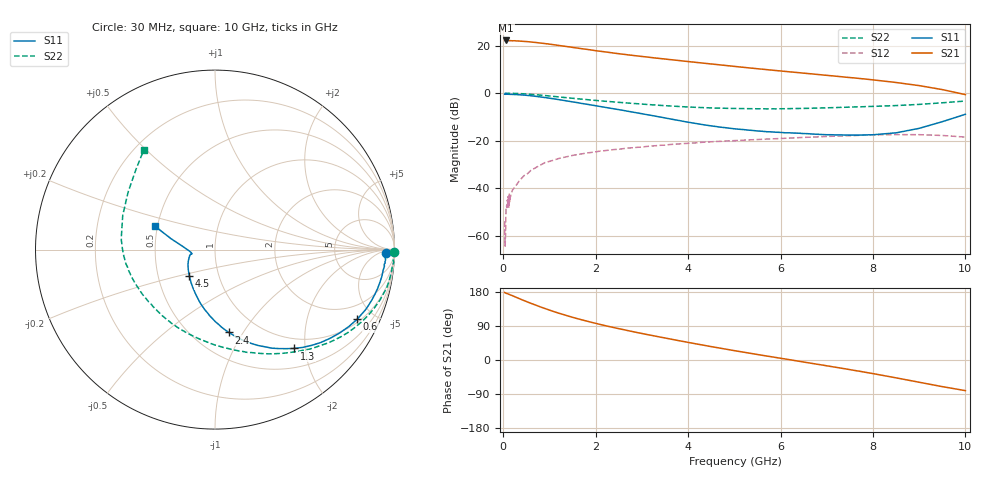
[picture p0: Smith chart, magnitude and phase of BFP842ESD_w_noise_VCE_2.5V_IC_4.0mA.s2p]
! Infineon Technologies  Discrete & RF Semiconductors
! BFP842ESD
! VCE =  2.5 V,  IC =  4.0 mA
! Common Emitter S-Parameters:  May 2012
# GHz  S  MA  R  50
!  f  S11  S21  S12  S22
! GHz  MAG  ANG  MAG  ANG  MAG  ANG  MAG  ANG
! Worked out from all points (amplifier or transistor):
!   99 points, 30 MHz to 10 GHz, reference 50 ohm
!   highest |S21| = 22.2 dB at 60 MHz (marker M1)
!   |S21| within 3 dB of that: start of sweep to 1.528 GHz
!   unconditionally stable (mu >= 1): 3.853 GHz to end of sweep
!   at 350 MHz: K = 0.14, MSG = 29.4 dB, |S12| = -36.8 dB
!   at 3.5 GHz: K = 0.95, MSG = 18.1 dB, |S12| = -21.9 dB
!   at 10 GHz: K = 2.06, MAG = 3.1 dB, |S12| = -18.5 dB
!   lowest NFmin = 0.36 dB at 450 MHz
!   S11 on the Smith chart (normalised r, x): 30 MHz: 34, -14; 600 MHz: 1.15, -4.00; 1.3 GHz: 0.82, -1.79; 2.4 GHz: 0.73, -0.87; 4.5 GHz: 0.72, -0.22; 10 GHz: 0.48, +0.15
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0.03  0.951 -1.2  12.79 178.2  0.002 111.0  0.9979 -0.8
0.04  0.9521 -1.7  12.76 177.5  0.0006 117.0  0.9984 -1.1
0.06  0.9494 -2.6  12.89 176.3  0.0038 104.8  1 -2.0
0.09  0.9495 -4.1  12.62 175.2  0.0056 91.1  0.9974 -3.0
0.11  0.9461 -5.0  12.86 173.9  0.0067 70.9  0.9949 -3.6
0.12  0.9484 -5.6  12.79 173.6  0.0038 72.3  0.9987 -4.1
0.13  0.9472 -5.8  12.7 173.0  0.0075 70.5  0.9961 -4.5
0.35  0.9251 -15.6  12.54 161.9  0.0144 77.9  0.9809 -12.2
0.6  0.8819 -26.1  11.95 149.5  0.0237 71.3  0.9451 -20.2
0.8  0.8347 -33.9  11.39 140.3  0.0304 64.8  0.9102 -26.3
1  0.7843 -41.3  10.79 131.7  0.0366 60.9  0.8733 -31.9
1.3  0.7063 -51.2  9.818 120.0  0.0442 54.5  0.8164 -39.6
1.7  0.608 -62.9  8.644 106.0  0.0527 47.4  0.7473 -48.5
2.1  0.5237 -73.5  7.633 93.7  0.0604 41.6  0.6903 -56.8
2.4  0.4678 -80.5  6.975 85.4  0.065 37.4  0.6535 -62.7
2.9  0.3839 -92.2  6.086 72.4  0.0724 32.3  0.6002 -72.6
3.4  0.3143 -104.4  5.366 60.4  0.0799 27.2  0.5534 -83.1
4.5  0.2047 -134.2  4.122 35.3  0.0946 15.6  0.49 -108.7
5.1  0.1741 -149.8  3.585 22.7  0.1012 9.0  0.4743 -122.4
6.7  0.1377 -168.8  2.534 -9.3  0.1192 -8.7  0.4831 -157.3
8.5  0.1462 -177.8  1.679 -47.1  0.1341 -35.6  0.5484 159.6
10  0.3594 158.7  0.933 -80.8  0.1189 -64.9  0.6834 125.4
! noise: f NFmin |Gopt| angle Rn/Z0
0.45  0.36  0.47  2  0.13
0.9  0.39  0.49  8  0.13
1.5  0.43  0.47  21  0.12
1.9  0.44  0.44  30  0.12
2.4  0.48  0.41  44  0.11
3.5  0.62  0.3  80  0.09
4  0.68  0.25  99  0.09
5  0.74  0.23  117  0.08
5.5  0.89  0.22  140  0.08
6  1.04  0.21  152  0.08
